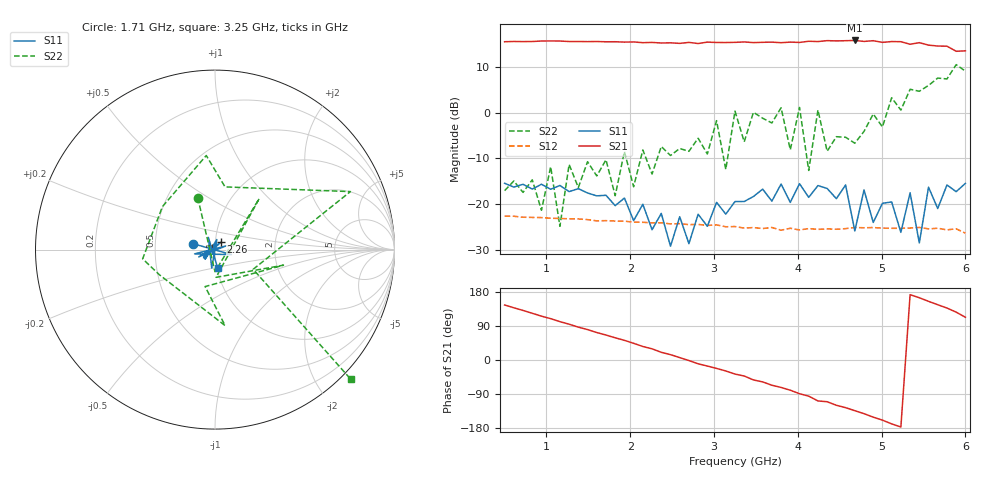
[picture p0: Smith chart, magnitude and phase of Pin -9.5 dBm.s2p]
! RsaToolbox (C) 2015 Rohde & Schwarz America
! Number of points: 51
! Number of ports: 2
! Balanced ports?: No
# Hz S RI R 50
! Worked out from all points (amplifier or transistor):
!   51 points, 500 MHz to 6 GHz, reference 50 ohm
!   highest |S21| = 15.9 dB at 4.68 GHz (marker M1)
!   |S21| within 3 dB of that: start of sweep to end of sweep
!   unconditionally stable (mu >= 1): start of sweep to 3.003 GHz; 3.047 GHz to 3.219 GHz; 4.29 GHz to 4.794 GHz (the widest 3 of 6)
!   at 1.38 GHz: K = 1.34, MAG = 16.0 dB, |S12| = -23.3 dB
!   at 3.25 GHz: K = 0.09, MSG = 20.2 dB, |S12| = -24.9 dB
!   at 6 GHz: K = -15.00, MSG = 20.0 dB, |S12| = -26.4 dB
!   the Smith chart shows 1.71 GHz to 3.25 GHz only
!   S11 on the Smith chart (normalised r, x): 1.71 GHz: 0.78, +0.05; 2.26 GHz: 1.06, +0.09; 3.25 GHz: 1.01, -0.21
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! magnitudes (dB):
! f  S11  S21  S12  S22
! 500 MHz  -15.5  15.6  -22.6  -17.1
! 940 MHz  -15.7  15.8  -23.0  -21.4
! 1.05 GHz  -16.8  15.8  -23.1  -11.8
! 1.16 GHz  -15.9  15.8  -23.2  -24.9
! 1.27 GHz  -17.3  15.7  -23.2  -11.3
! 1.49 GHz  -17.6  15.6  -23.4  -10.7
! 1.71 GHz  -18.1  15.6  -23.7  -10.3
! 2.26 GHz  -25.6  15.5  -24.1  -13.4
! 2.37 GHz  -22.1  15.3  -24.1  -7.4
! 3.03 GHz  -19.6  15.4  -24.6  -1.7
! 3.14 GHz  -22.2  15.4  -25.0  -12.4
! 3.25 GHz  -19.5  15.5  -24.9  0.4
! 3.91 GHz  -19.7  15.5  -25.3  -8.1
! 4.02 GHz  -15.5  15.5  -25.7  1.2
! 4.13 GHz  -18.5  15.7  -25.4  -12.6
! 4.24 GHz  -16.0  15.6  -25.6  0.6
! 4.68 GHz  -25.9  15.9  -25.2  -6.7
! 5.12 GHz  -19.6  15.6  -25.3  3.3
! 5.34 GHz  -17.5  15.1  -25.3  5.2
! 5.45 GHz  -28.5  15.4  -25.1  4.7
! 5.56 GHz  -16.3  14.9  -25.5  6.0
! 6 GHz  -15.5  13.6  -26.4  9.2
